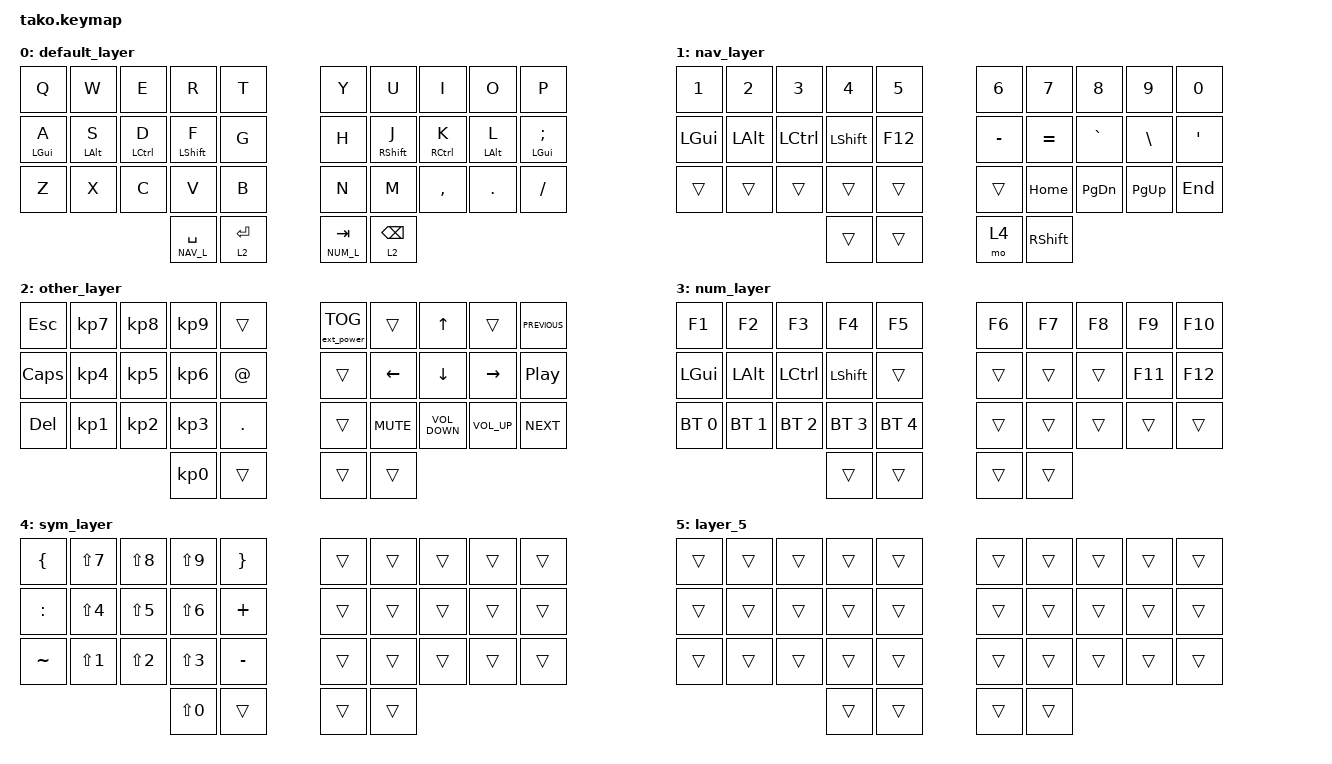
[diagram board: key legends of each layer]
/*
 * Copyright (c) 2020 The ZMK Contributors
 *
 * SPDX-License-Identifier: MIT
 */

#include <behaviors.dtsi>
#include <dt-bindings/zmk/bt.h>
#include <dt-bindings/zmk/ext_power.h>
#include <dt-bindings/zmk/keys.h>

#define NAV_L 1
#define OTHER_L 2
#define NUM_L 3
#define SYM_L 4

// Using layer taps on thumbs, having quick tap as well helps w/ repeating space/backspace

&lt { quick_tap_ms = <200>; };

/ {
    behaviors {
        hm: homerow_mods {
            compatible = "zmk,behavior-hold-tap";
            label = "homerow mods";
            #binding-cells = <2>;
            flavor = "tap-preferred";
            bindings = <&kp>, <&kp>;

            tapping-term-ms = <250>;
            quick-tap-ms = <0>;
        };
    };

    combos {
        compatible = "zmk,combos";

        left_bkt {
            bindings = <&kp LEFT_BRACKET>;
            key-positions = <2 3>;
        };

        right_bkt {
            bindings = <&kp RBKT>;
            key-positions = <7 6>;
        };

        left_par {
            bindings = <&kp LPAR>;
            key-positions = <13 12>;
        };

        right_par {
            bindings = <&kp RPAR>;
            key-positions = <16 17>;
        };

        left_brc {
            bindings = <&kp LBRC>;
            key-positions = <22 23>;
        };

        right_brc {
            bindings = <&kp RBRC>;
            key-positions = <26 27>;
        };

        blsh {
            bindings = <&kp BSLH>;
            key-positions = <4 5>;
        };

        pipe {
            bindings = <&kp PIPE>;
            key-positions = <14 15>;
        };
    };

    keymap {
        compatible = "zmk,keymap";

        default_layer {
            bindings = <
&kp Q       &kp W       &kp E        &kp R            &kp T          &kp Y          &kp U            &kp I        &kp O       &kp P
&hm LGUI A  &hm LALT S  &hm LCTRL D  &hm LSHFT F      &kp G          &kp H          &hm RSHFT J      &hm RCTRL K  &hm LALT L  &hm LGUI SEMI
&kp Z       &kp X       &kp C        &kp V            &kp B          &kp N          &kp M            &kp COMMA    &kp DOT     &kp FSLH
                                     &lt NAV_L SPACE  &lt 2 ENTER    &lt NUM_L TAB  &lt 2 BACKSPACE
            >;
        };

        nav_layer {
            bindings = <
&kp NUMBER_1  &kp NUMBER_2  &kp NUMBER_3  &kp NUMBER_4    &kp N5     &kp NUMBER_6  &kp N7     &kp N8     &kp N9         &kp N0
&kp LEFT_GUI  &kp LEFT_ALT  &kp LCTRL     &kp LEFT_SHIFT  &kp F12    &kp MINUS     &kp EQUAL  &kp GRAVE  &kp BACKSLASH  &kp SQT
&trans        &trans        &trans        &trans          &trans     &trans        &kp HOME   &kp PG_DN  &kp PG_UP      &kp END
                                          &trans          &trans     &mo 4         &kp RSHFT
            >;
        };

        other_layer {
            bindings = <
&kp ESC   &kp KP_NUMBER_7  &kp KP_NUMBER_8  &kp KP_NUMBER_9  &trans         &ext_power EP_TOG  &trans      &kp UP_ARROW       &trans           &kp C_PREVIOUS
&kp CAPS  &kp KP_NUMBER_4  &kp KP_NUMBER_5  &kp KP_NUMBER_6  &kp AT_SIGN    &trans             &kp LEFT    &kp DOWN_ARROW     &kp RIGHT        &kp C_PLAY_PAUSE
&kp DEL   &kp KP_NUMBER_1  &kp KP_NUMBER_2  &kp KP_NUMBER_3  &kp DOT        &trans             &kp C_MUTE  &kp C_VOLUME_DOWN  &kp C_VOLUME_UP  &kp C_NEXT
                                            &kp KP_NUMBER_0  &trans         &trans             &trans
            >;
        };

        num_layer {
            bindings = <
&kp F1        &kp F2        &kp F3        &kp F4          &kp F5          &kp F6  &kp F7  &kp F8  &kp F9   &kp F10
&kp LEFT_GUI  &kp LEFT_ALT  &kp LCTRL     &kp LEFT_SHIFT  &trans          &trans  &trans  &trans  &kp F11  &kp F12
&bt BT_SEL 0  &bt BT_SEL 1  &bt BT_SEL 2  &bt BT_SEL 3    &bt BT_SEL 4    &trans  &trans  &trans  &trans   &trans
                                          &trans          &trans          &trans  &trans
            >;
        };

        sym_layer {
            bindings = <
&kp LBRC   &kp LS(N7)  &kp LS(N8)  &kp LS(N9)  &kp RBRC     &trans  &trans  &trans  &trans  &trans
&kp COLON  &kp LS(N4)  &kp LS(N5)  &kp LS(N6)  &kp PLUS     &trans  &trans  &trans  &trans  &trans
&kp TILDE  &kp LS(N1)  &kp LS(N2)  &kp LS(N3)  &kp MINUS    &trans  &trans  &trans  &trans  &trans
                                   &kp LS(N0)  &trans       &trans  &trans
            >;
        };

        layer_5 {
            bindings = <
&trans  &trans  &trans  &trans  &trans    &trans  &trans  &trans  &trans  &trans
&trans  &trans  &trans  &trans  &trans    &trans  &trans  &trans  &trans  &trans
&trans  &trans  &trans  &trans  &trans    &trans  &trans  &trans  &trans  &trans
                        &trans  &trans    &trans  &trans
            >;
        };
    };
};

